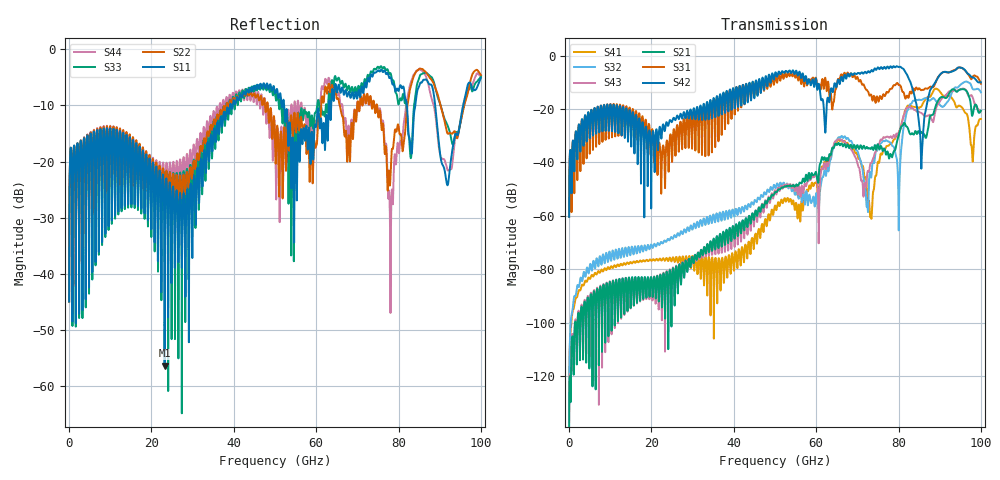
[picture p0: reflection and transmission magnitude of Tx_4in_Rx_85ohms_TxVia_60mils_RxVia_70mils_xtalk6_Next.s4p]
! Info: Touchstone file created by Circ.  Input file=Tx_4in_Rx_85ohms_TxVia_60mils_RxVia_70mils.circ
# Hz S RI R 50
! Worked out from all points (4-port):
!   10000 points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, 10 MHz to 100 GHz, reference 50 ohm
!   strongest paths, dB at 10 MHz, 25.01 GHz, 50.01 GHz, 75.01 GHz, 100 GHz:
!     S42: -60.4, -24.7, -6.7, -4.4, -10.0
!     S31: -60.4, -39.8, -8.0, -16.7, -10.5
!     S21: -139.3, -84.3, -51.1, -33.3, -20.6
!     S43: -137.2, -83.3, -50.4, -33.1, -20.8
!     S32: -130.3, -68.3, -49.3, -34.5, -13.8
!     S41: -130.3, -76.4, -56.2, -39.8, -23.7
!   lowest |S11| = -56.4 dB at 23.2 GHz (marker M1), VSWR 1.00, Z = 49.9 + j0.125 ohm
!   |S11| at or under -10 dB: start of sweep to 39.09 GHz; 52.22 GHz to 63.07 GHz (10.85 GHz wide, 18.8 % of centre); 88.91 GHz to 95.7 GHz (6.795 GHz wide, 7.36 % of centre)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
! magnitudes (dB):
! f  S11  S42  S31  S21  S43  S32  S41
! 10 MHz  -44.9  -60.4  -60.4  -139.3  -137.2  -130.3  -130.3
! 8.11 GHz  -22.5  -28.4  -32.2  -92.4  -92.7  -75.4  -80.6
! 23.2 GHz  -56.4  -28.3  -41.7  -87.7  -88.8  -69.2  -76.8
! 65.87 GHz  -7.7  -9.5  -7.9  -33.4  -31.6  -30.7  -31.8
! 72.32 GHz  -6.2  -6.5  -12.9  -34.2  -45.3  -56.6  -49.9
! 85.59 GHz  -6.0  -40.4  -12.9  -28.6  -21.5  -16.6  -19.0
! 100 GHz  -5.1  -10.0  -10.5  -20.6  -20.8  -13.8  -23.7
